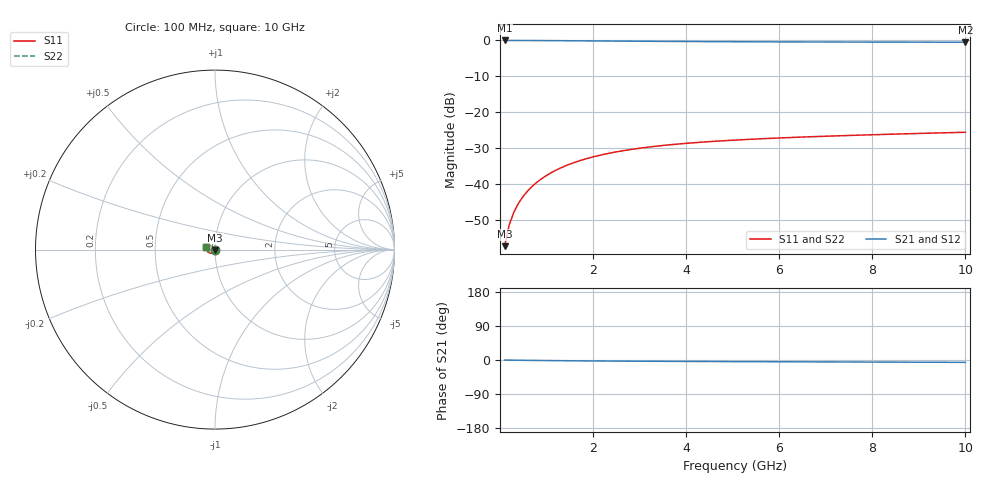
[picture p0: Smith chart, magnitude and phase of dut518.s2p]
! Touchstone file exported from HFSS 2024.1.0
!  File:  C:/UserFiles/LocalFiles/RDL_TSV_Batchsim/temp_TSV1_518_1779703111.aedt
!  Generated:  06:05:59 PM May 25, 2026
!  Design:  TSV1
!  Project:  temp_TSV1_518_1779703111
!  Setup:  Setup1
!  Solution:  Sweep
! Variables:
!  dtsv = 9.81um
!  hbump = 3um
!  htsv = 97.31um
!  lrdl = 252.1521522um
!  p = 40
!  p1 = 56.66um
!  t = 500um
!  trdl = 3um
!  wrdl = 24.89489489um
# GHz S MA R 50.000000
! Terminal data exported
! Port[1] = TSV22_T1
! Port[2] = TSV22_T2
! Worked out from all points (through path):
!   100 points, 100 MHz to 10 GHz, reference 50 ohm
!   highest |S21| = 0.00 dB at 100 MHz (marker M1); lowest = -0.5 dB at 10 GHz (marker M2)
!   lowest |S11| = -57.2 dB at 100 MHz (marker M3), VSWR 1.00, Z = 50 - j0.137 ohm
!   |S11| at or under -10 dB: start of sweep to end of sweep
!   |S22| runs from -57.2 to -25.5 dB; largest |S21 - S12| = 4.2e-15
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0.1  0.001377 -84.9  0.9998 -0.2  0.9998 -0.2  0.001377 -84.9
! Gamma 0 0 0 0
! Port Impedance 50 0 50 0
0.2  0.002738 -90.3  0.9996 -0.3  0.9996 -0.3  0.002738 -90.3
0.3  0.0041 -93.5  0.9994 -0.4  0.9994 -0.4  0.0041 -93.5
0.4  0.005457 -96.0  0.999 -0.6  0.999 -0.6  0.005457 -96.0
0.5  0.006803 -98.4  0.9986 -0.7  0.9986 -0.7  0.006803 -98.4
0.6  0.008135 -100.6  0.9981 -0.9  0.9981 -0.9  0.008135 -100.6
0.7  0.009448 -102.7  0.9975 -1.0  0.9975 -1.0  0.009448 -102.7
0.8  0.01074 -104.8  0.9968 -1.2  0.9968 -1.2  0.01074 -104.8
0.9  0.01201 -106.8  0.9961 -1.3  0.9961 -1.3  0.01201 -106.8
1.1  0.01447 -110.8  0.9944 -1.5  0.9944 -1.5  0.01447 -110.8
1.4  0.01793 -116.4  0.9916 -1.9  0.9916 -1.9  0.01793 -116.4
1.6  0.02009 -120.0  0.9896 -2.1  0.9896 -2.1  0.02009 -120.0
1.8  0.02211 -123.4  0.9875 -2.3  0.9875 -2.3  0.02211 -123.4
2.1  0.0249 -128.3  0.9842 -2.6  0.9842 -2.6  0.0249 -128.3
2.5  0.02819 -134.3  0.98 -2.9  0.98 -2.9  0.02819 -134.3
2.9  0.03103 -139.9  0.976 -3.2  0.976 -3.2  0.03103 -139.9
3.4  0.03405 -146.1  0.9714 -3.5  0.9714 -3.5  0.03405 -146.1
4.2  0.03792 -154.9  0.9652 -3.9  0.9652 -3.9  0.03792 -154.9
5.1  0.04129 -163.2  0.9597 -4.3  0.9597 -4.3  0.0413 -163.2
6.7  0.04582 -175.4  0.9529 -4.9  0.9529 -4.9  0.04582 -175.4
8.4  0.04964 174.2  0.9482 -5.6  0.9482 -5.6  0.04964 174.2
10  0.05287 166.1  0.9452 -6.2  0.9452 -6.2  0.05287 166.1
